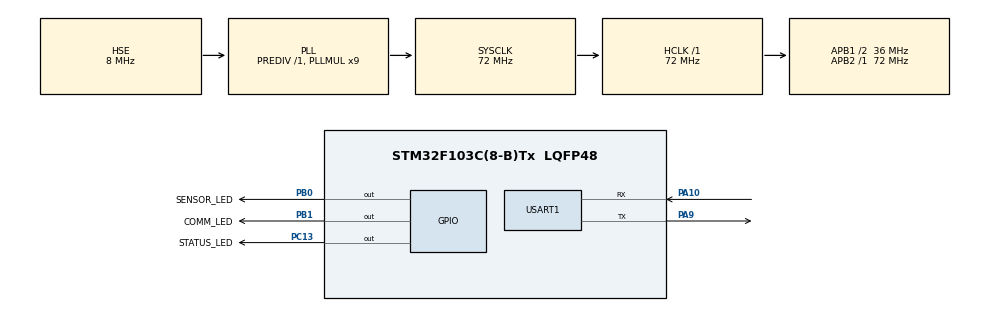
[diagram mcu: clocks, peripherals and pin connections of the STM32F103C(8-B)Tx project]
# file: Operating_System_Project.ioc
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FREERTOS.Tasks01=bootstrapTask,24,512,StartBootstrapTask,Default,NULL,Dynamic,NULL,NULL
FREERTOS.configCHECK_FOR_STACK_OVERFLOW=2
FREERTOS.configTOTAL_HEAP_SIZE=8192
FREERTOS.configUSE_MALLOC_FAILED_HOOK=1
Mcu.Family=STM32F1
Mcu.Name=STM32F103C(8-B)Tx
Mcu.Package=LQFP48
NVIC.PriorityGroup=NVIC_PRIORITYGROUP_4
NVIC.TIM4_IRQn=true\:15\:0\:false\:false\:true\:false\:false\:true\:true
NVIC.TimeBase=TIM4_IRQn
NVIC.TimeBaseIP=TIM4
NVIC.USART1_IRQn=true\:6\:0\:true\:false\:true\:true\:true\:true\:true
PA10.Mode=Asynchronous
PA10.Signal=USART1_RX
PA13.Mode=Serial_Wire
PA13.Signal=SYS_JTMS-SWDIO
PA14.Mode=Serial_Wire
PA14.Signal=SYS_JTCK-SWCLK
PA9.Mode=Asynchronous
PA9.Signal=USART1_TX
PB0.GPIO_Label=SENSOR_LED
PB0.GPIO_ModeDefaultOutputPP=GPIO_MODE_OUTPUT_PP
PB0.GPIO_PuPd=GPIO_NOPULL
PB0.PinState=GPIO_PIN_RESET
PB0.Signal=GPIO_Output
PB1.GPIO_Label=COMM_LED
PB1.GPIO_ModeDefaultOutputPP=GPIO_MODE_OUTPUT_PP
PB1.GPIO_PuPd=GPIO_NOPULL
PB1.PinState=GPIO_PIN_RESET
PB1.Signal=GPIO_Output
PC13-TAMPER-RTC.GPIO_Label=STATUS_LED
PC13-TAMPER-RTC.GPIO_ModeDefaultOutputPP=GPIO_MODE_OUTPUT_PP
PC13-TAMPER-RTC.GPIO_PuPd=GPIO_NOPULL
PC13-TAMPER-RTC.PinState=GPIO_PIN_SET
PC13-TAMPER-RTC.Signal=GPIO_Output
PD0-OSC_IN.Mode=HSE-External-Oscillator
PD0-OSC_IN.Signal=RCC_OSC_IN
PD1-OSC_OUT.Mode=HSE-External-Oscillator
PD1-OSC_OUT.Signal=RCC_OSC_OUT
ProjectManager.HeapSize=0x200
ProjectManager.StackSize=0x400
ProjectManager.TargetToolchain=MDK-ARM V5.32
RCC.AHBFreq_Value=72000000
RCC.APB1CLKDivider=RCC_HCLK_DIV2
RCC.APB1Freq_Value=36000000
RCC.APB1TimFreq_Value=72000000
RCC.APB2Freq_Value=72000000
RCC.APB2TimFreq_Value=72000000
RCC.HCLKFreq_Value=72000000
RCC.PLLMUL=RCC_PLL_MUL9
RCC.PLLSourceVirtual=RCC_PLLSOURCE_HSE
RCC.SYSCLKFreq_VALUE=72000000
RCC.SYSCLKSource=RCC_SYSCLKSOURCE_PLLCLK
RCC.USBFreq_Value=72000000
USART1.VirtualMode=VM_ASYNC
VP_FREERTOS_VS_CMSIS_V2.Mode=CMSIS_V2
VP_SYS_VS_tim4.Mode=TIM4
board=custom

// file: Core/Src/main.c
/* USER CODE BEGIN Header */
/**
  ******************************************************************************
  * @file           : main.c
  * @brief          : Main program body
  ******************************************************************************
  * @attention
  *
  * Copyright (c) 2026 STMicroelectronics.
  * All rights reserved.
  *
  * This software is licensed under terms that can be found in the LICENSE file
  * in the root directory of this software component.
  * If no LICENSE file comes with this software, it is provided AS-IS.
  *
  ******************************************************************************
  */
/* USER CODE END Header */
#include "main.h"
#include "cmsis_os.h"

/* USER CODE BEGIN Includes */
#include "iwdg.h"
#include "m5_command.h"
#include "rtsfr_m5_config.h"
#include "rtsfr_system.h"
#if (configRTSFR_M4_TARGET_TEST == 1)
#include "test_m4.h"
#endif

/* USER CODE END Includes */

UART_HandleTypeDef huart1;

/* Definitions for bootstrapTask */
osThreadId_t bootstrapTaskHandle;
const osThreadAttr_t bootstrapTask_attributes = {
  .name = "bootstrapTask",
  .stack_size = 512 * 4,
  .priority = (osPriority_t) osPriorityNormal,
};

void SystemClock_Config(void);
static void MX_GPIO_Init(void);
static void MX_USART1_UART_Init(void);
void StartBootstrapTask(void *argument);

int main(void)
{

  /* MCU Configuration--------------------------------------------------------*/

  /* Reset of all peripherals, Initializes the Flash interface and the Systick. */
  HAL_Init();

  /* Configure the system clock */
  SystemClock_Config();

  /* Initialize all configured peripherals */
  MX_GPIO_Init();
  MX_USART1_UART_Init();
  /* USER CODE BEGIN 2 */
#if configRTSFR_M5_ENABLE
  rtsfr_iwdg_capture_reset_cause();
#endif

  /* USER CODE END 2 */

  /* Init scheduler */
  osKernelInitialize();

  /* Create the thread(s) */
  /* creation of bootstrapTask */
  bootstrapTaskHandle = osThreadNew(StartBootstrapTask, NULL, &bootstrapTask_attributes);

  /* Start scheduler */
  osKernelStart();

  /* We should never get here as control is now taken by the scheduler */

  /* Infinite loop */
  while (1)
  {

  }
}

void SystemClock_Config(void)
{
  RCC_OscInitTypeDef RCC_OscInitStruct = {0};
  RCC_ClkInitTypeDef RCC_ClkInitStruct = {0};

  /** Initializes the RCC Oscillators according to the specified parameters
  * in the RCC_OscInitTypeDef structure.
  */
  RCC_OscInitStruct.OscillatorType = RCC_OSCILLATORTYPE_HSE;
  RCC_OscInitStruct.HSEState = RCC_HSE_ON;
  RCC_OscInitStruct.HSEPredivValue = RCC_HSE_PREDIV_DIV1;
  RCC_OscInitStruct.HSIState = RCC_HSI_ON;
  RCC_OscInitStruct.PLL.PLLState = RCC_PLL_ON;
  RCC_OscInitStruct.PLL.PLLSource = RCC_PLLSOURCE_HSE;
  RCC_OscInitStruct.PLL.PLLMUL = RCC_PLL_MUL9;
  if (HAL_RCC_OscConfig(&RCC_OscInitStruct) != HAL_OK)
  {
    Error_Handler();
  }

  /** Initializes the CPU, AHB and APB buses clocks
  */
  RCC_ClkInitStruct.ClockType = RCC_CLOCKTYPE_HCLK|RCC_CLOCKTYPE_SYSCLK
                              |RCC_CLOCKTYPE_PCLK1|RCC_CLOCKTYPE_PCLK2;
  RCC_ClkInitStruct.SYSCLKSource = RCC_SYSCLKSOURCE_PLLCLK;
  RCC_ClkInitStruct.AHBCLKDivider = RCC_SYSCLK_DIV1;
  RCC_ClkInitStruct.APB1CLKDivider = RCC_HCLK_DIV2;
  RCC_ClkInitStruct.APB2CLKDivider = RCC_HCLK_DIV1;

  if (HAL_RCC_ClockConfig(&RCC_ClkInitStruct, FLASH_LATENCY_2) != HAL_OK)
  {
    Error_Handler();
  }
}

static void MX_USART1_UART_Init(void)
{

  huart1.Instance = USART1;
  huart1.Init.BaudRate = 115200;
  huart1.Init.WordLength = UART_WORDLENGTH_8B;
  huart1.Init.StopBits = UART_STOPBITS_1;
  huart1.Init.Parity = UART_PARITY_NONE;
  huart1.Init.Mode = UART_MODE_TX_RX;
  huart1.Init.HwFlowCtl = UART_HWCONTROL_NONE;
  huart1.Init.OverSampling = UART_OVERSAMPLING_16;
  if (HAL_UART_Init(&huart1) != HAL_OK)
  {
    Error_Handler();
  }

}

static void MX_GPIO_Init(void)
{
  GPIO_InitTypeDef GPIO_InitStruct = {0};
  /* USER CODE BEGIN MX_GPIO_Init_1 */
  __HAL_RCC_GPIOB_CLK_ENABLE();
  HAL_GPIO_WritePin(GPIOB, SENSOR_LED_Pin|COMM_LED_Pin, GPIO_PIN_RESET);
  GPIO_InitStruct.Pin = SENSOR_LED_Pin|COMM_LED_Pin;
  GPIO_InitStruct.Mode = GPIO_MODE_OUTPUT_PP;
  GPIO_InitStruct.Pull = GPIO_NOPULL;
  GPIO_InitStruct.Speed = GPIO_SPEED_FREQ_LOW;
  HAL_GPIO_Init(GPIOB, &GPIO_InitStruct);

  /* USER CODE END MX_GPIO_Init_1 */

  /* GPIO Ports Clock Enable */
  __HAL_RCC_GPIOC_CLK_ENABLE();
  __HAL_RCC_GPIOD_CLK_ENABLE();
  __HAL_RCC_GPIOA_CLK_ENABLE();

  /*Configure GPIO pin Output Level */
  HAL_GPIO_WritePin(STATUS_LED_GPIO_Port, STATUS_LED_Pin, GPIO_PIN_SET);

  /*Configure GPIO pin : STATUS_LED_Pin */
  GPIO_InitStruct.Pin = STATUS_LED_Pin;
  GPIO_InitStruct.Mode = GPIO_MODE_OUTPUT_PP;
  GPIO_InitStruct.Pull = GPIO_NOPULL;
  GPIO_InitStruct.Speed = GPIO_SPEED_FREQ_LOW;
  HAL_GPIO_Init(STATUS_LED_GPIO_Port, &GPIO_InitStruct);

}

void StartBootstrapTask(void *argument)
{
  /* USER CODE BEGIN 5 */
  /* Infinite loop */
  (void)argument;

#if configRTSFR_M5_ENABLE
  rtsfr_m5_service_init();
  if (rtsfr_system_init() != RTSFR_OK)
  {
    HAL_GPIO_WritePin(STATUS_LED_GPIO_Port, STATUS_LED_Pin, GPIO_PIN_RESET);
  }
#endif

#if (configRTSFR_M4_TARGET_TEST == 1)
  rtsfr_m4_target_test_run();
#endif

  for (;;)
  {
#if configRTSFR_M5_ENABLE
    rtsfr_system_poll();
    rtsfr_m5_service_poll();
    osDelay(10);
#else
    HAL_GPIO_TogglePin(STATUS_LED_GPIO_Port, STATUS_LED_Pin);
    osDelay(500);
#endif
  }
  /* USER CODE END 5 */
}

void HAL_TIM_PeriodElapsedCallback(TIM_HandleTypeDef *htim)
{
  if (htim->Instance == TIM4)
  {
    HAL_IncTick();
  }
}

void Error_Handler(void)
{
  __disable_irq();
  while (1)
  {
  }
}

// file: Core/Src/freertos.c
/* USER CODE BEGIN Header */
/**
  ******************************************************************************
  * File Name          : freertos.c
  * Description        : Code for freertos applications
  ******************************************************************************
  * @attention
  *
  * Copyright (c) 2026 STMicroelectronics.
  * All rights reserved.
  *
  * This software is licensed under terms that can be found in the LICENSE file
  * in the root directory of this software component.
  * If no LICENSE file comes with this software, it is provided AS-IS.
  *
  ******************************************************************************
  */
/* USER CODE END Header */

#include "FreeRTOS.h"
#include "task.h"
#include "main.h"

/* Hook prototypes */
void vApplicationStackOverflowHook(xTaskHandle xTask, signed char *pcTaskName);
void vApplicationMallocFailedHook(void);

/* USER CODE BEGIN 4 */
void vApplicationStackOverflowHook(xTaskHandle xTask, signed char *pcTaskName)
{
   /* Run time stack overflow checking is performed if
   configCHECK_FOR_STACK_OVERFLOW is defined to 1 or 2. This hook function is
   called if a stack overflow is detected. */
   (void)xTask;
   (void)pcTaskName;

   taskDISABLE_INTERRUPTS();

   for (;;)
   {
      /* Trap để debugger quan sát. */
   }
}
/* USER CODE END 4 */

/* USER CODE BEGIN 5 */
void vApplicationMallocFailedHook(void)
{
   /* vApplicationMallocFailedHook() will only be called if
   configUSE_MALLOC_FAILED_HOOK is set to 1 in FreeRTOSConfig.h. It is a hook
   function that will get called if a call to pvPortMalloc() fails.
   pvPortMalloc() is called internally by the kernel whenever a task, queue,
   timer or semaphore is created. It is also called by various parts of the
   demo application. If heap_1.c or heap_2.c are used, then the size of the
   heap available to pvPortMalloc() is defined by configTOTAL_HEAP_SIZE in
   FreeRTOSConfig.h, and the xPortGetFreeHeapSize() API function can be used
   to query the size of free heap space that remains (although it does not
   provide information on how the remaining heap might be fragmented). */
   taskDISABLE_INTERRUPTS();

   for (;;)
   {
      /* Trap để debugger quan sát. */
   }
}
/* USER CODE END 5 */
